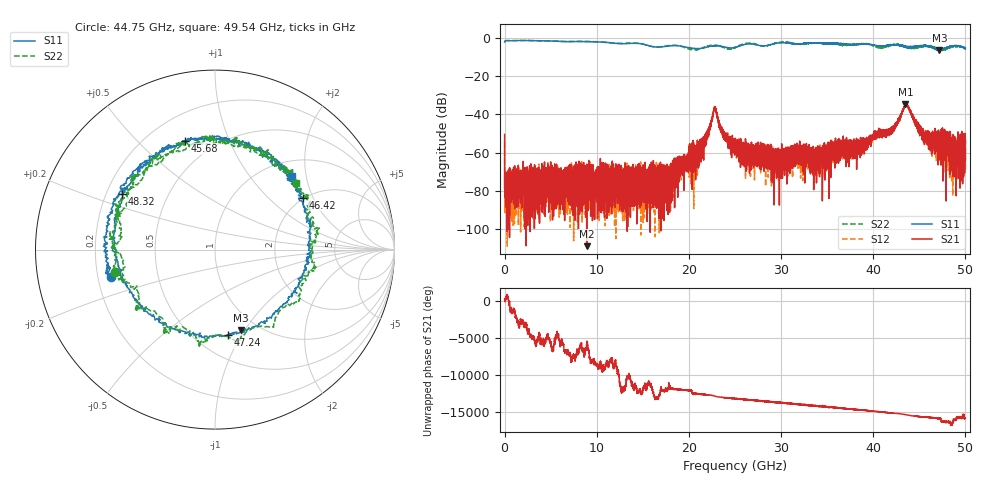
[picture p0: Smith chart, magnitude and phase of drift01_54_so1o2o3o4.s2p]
!Created with skrf (http://scikit-rf.org).
# Hz S RI R 50.0
!freq ReS11 ImS11 ReS21 ImS21 ReS12 ImS12 ReS22 ImS22
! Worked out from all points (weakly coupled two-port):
!   10001 points, 300 kHz to 50 GHz, reference 50 ohm
!   highest |S21| = -34.56 dB at 43.5 GHz (marker M1); lowest = -108.9 dB at 8.91 GHz (marker M2)
!   lowest |S11| = -6.5 dB at 47.18 GHz (marker M3), VSWR 2.78, Z = 41.7 - j48.1 ohm
!   |S11| at or under -10 dB: nowhere
!   |S22| runs from -6.6 to -1.4 dB; largest |S21 - S12| = 0.004
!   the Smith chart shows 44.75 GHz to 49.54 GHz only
!   S11 on the Smith chart (normalised r, x): 44.75 GHz: 0.25, -0.12; 45.68 GHz: 0.35, +0.70; 46.42 GHz: 1.96, +1.68; 47.24 GHz: 0.71, -0.88; 48.32 GHz: 0.27, +0.26; 49.54 GHz: 1.31, +1.65
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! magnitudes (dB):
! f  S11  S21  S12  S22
! 300 kHz  -2.2  -50.4  -54.5  -2.1
! 265.3 MHz  -1.4  -71.4  -72.9  -1.4
! 8.335 GHz  -1.9  -69.9  -76.0  -1.8
! 8.91 GHz  -2.0  -108.9  -76.5  -1.9
! 16.67 GHz  -4.8  -73.8  -70.7  -4.8
! 20.69 GHz  -5.6  -64.7  -60.9  -6.3
! 21.54 GHz  -5.3  -52.1  -53.7  -5.1
! 22.8 GHz  -4.3  -36.3  -36.2  -4.0
! 23.75 GHz  -4.7  -50.1  -50.1  -5.0
! 25 GHz  -5.0  -57.1  -56.5  -5.1
! 29.72 GHz  -2.7  -62.9  -58.6  -2.5
! 33.34 GHz  -2.6  -62.7  -64.1  -2.6
! 41.67 GHz  -3.9  -50.0  -49.5  -4.4
! 43.5 GHz  -4.7  -34.6  -35.2  -4.6
! 44.75 GHz  -4.4  -44.6  -43.6  -4.9
! 45.68 GHz  -4.0  -49.6  -49.5  -4.3
! 46.42 GHz  -4.9  -54.5  -52.5  -4.6
! 47.18 GHz  -6.5  -51.4  -61.8  -6.3
! 47.24 GHz  -6.3  -51.8  -54.5  -5.5
! 48.32 GHz  -4.4  -54.1  -55.1  -5.2
! 49.54 GHz  -4.6  -57.1  -53.0  -4.7
! 50 GHz  -5.4  -53.3  -53.8  -5.3
